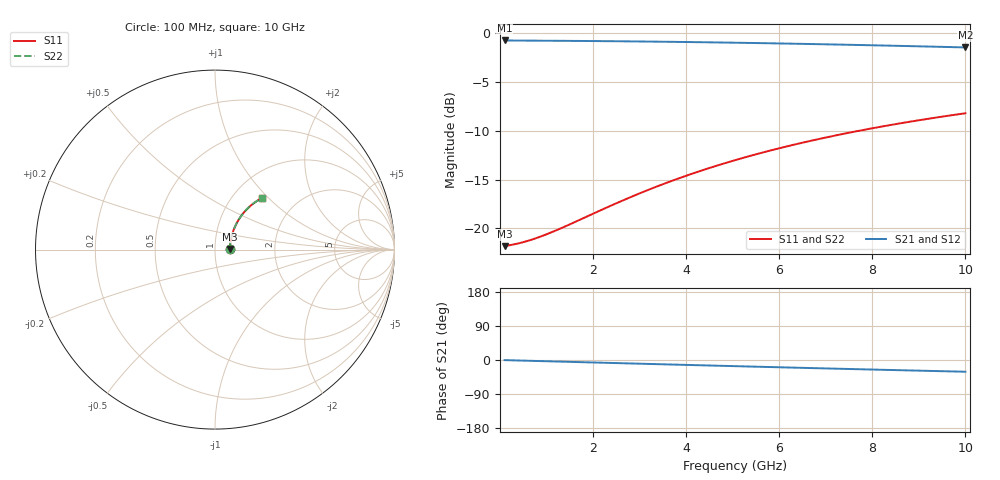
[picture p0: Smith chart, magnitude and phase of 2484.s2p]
# Hz S RI R 50.00
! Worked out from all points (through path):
!   100 points, 100 MHz to 10 GHz, reference 50 ohm
!   highest |S21| = -0.73 dB at 100 MHz (marker M1); lowest = -1.4 dB at 10 GHz (marker M2)
!   group delay of S21, straight-line fit = 8.62 ps
!   lowest |S11| = -21.8 dB at 100 MHz (marker M3), VSWR 1.18, Z = 58.8 + j0.448 ohm
!   |S11| at or under -10 dB: start of sweep to 7.71 GHz
!   |S22| runs from -21.8 to -8.2 dB; largest |S21 - S12| = 0
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1e8  0.081 0.00379  0.919 -0.00525  0.919 -0.00525  0.081 0.00379
3e8  0.082 0.0113  0.918 -0.0157  0.918 -0.0157  0.082 0.0113
5e8  0.0828 0.0188  0.9171 -0.0262  0.9171 -0.0262  0.0828 0.0188
8e8  0.0843 0.0301  0.9156 -0.0418  0.9156 -0.0418  0.0843 0.0301
1e9  0.0853 0.0375  0.9145 -0.0522  0.9145 -0.0522  0.0853 0.0375
1.2e9  0.0866 0.0449  0.9133 -0.0626  0.9133 -0.0626  0.0866 0.0449
1.8e9  0.091 0.067  0.9086 -0.0934  0.9086 -0.0934  0.091 0.067
2.3e9  0.0958 0.085  0.9036 -0.1188  0.9036 -0.1188  0.0958 0.085
2.7e9  0.1002 0.0992  0.8989 -0.1388  0.8989 -0.1388  0.1002 0.0992
3.1e9  0.1053 0.1131  0.8936 -0.1586  0.8936 -0.1586  0.1053 0.1131
3.4e9  0.1095 0.1233  0.8892 -0.1732  0.8892 -0.1732  0.1095 0.1233
3.8e9  0.1155 0.1367  0.8828 -0.1925  0.8828 -0.1925  0.1155 0.1367
4.2e9  0.1221 0.1497  0.8758 -0.2114  0.8758 -0.2114  0.1221 0.1497
4.6e9  0.1293 0.1623  0.8683 -0.2299  0.8683 -0.2299  0.1293 0.1623
5.1e9  0.1389 0.1775  0.8582 -0.2525  0.8582 -0.2525  0.1389 0.1775
5.5e9  0.1471 0.1892  0.8495 -0.2701  0.8495 -0.2701  0.1471 0.1892
5.9e9  0.1557 0.2005  0.8403 -0.2873  0.8403 -0.2873  0.1557 0.2005
6.7e9  0.1742 0.2216  0.8207 -0.3202  0.8207 -0.3202  0.1742 0.2216
7.5e9  0.1941 0.2407  0.7995 -0.3513  0.7995 -0.3513  0.1941 0.2407
8.4e9  0.2178 0.2598  0.7741 -0.3838  0.7741 -0.3838  0.2178 0.2598
9.2e9  0.2398 0.2745  0.7504 -0.4105  0.7504 -0.4105  0.2398 0.2745
1e10  0.2625 0.2872  0.726 -0.4352  0.726 -0.4352  0.2625 0.2872
